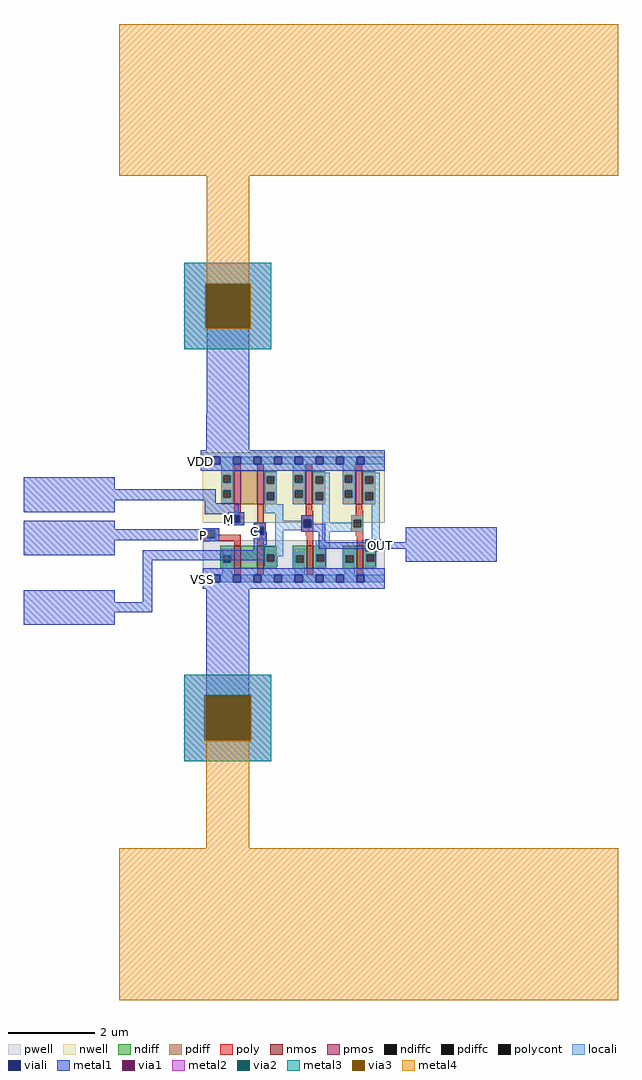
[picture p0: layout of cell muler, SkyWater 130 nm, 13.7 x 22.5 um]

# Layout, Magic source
magic
tech sky130A
magscale 1 2
<< nwell >>
rect 285 -700 1125 -375
<< pwell >>
rect 320 -785 1125 -780
rect 285 -975 1125 -785
<< nmos >>
rect 430 -910 460 -805
rect 535 -910 565 -805
rect 765 -910 795 -805
rect 995 -910 1025 -805
<< pmos >>
rect 430 -615 460 -460
rect 535 -615 565 -460
rect 760 -615 790 -460
rect 990 -615 1020 -460
<< ndiff >>
rect 365 -850 430 -805
rect 365 -885 380 -850
rect 415 -885 430 -850
rect 365 -910 430 -885
rect 460 -910 535 -805
rect 565 -845 625 -805
rect 565 -880 580 -845
rect 615 -880 625 -845
rect 565 -910 625 -880
rect 700 -850 765 -805
rect 700 -885 715 -850
rect 750 -885 765 -850
rect 700 -910 765 -885
rect 795 -845 855 -805
rect 795 -880 810 -845
rect 845 -880 855 -845
rect 795 -910 855 -880
rect 930 -850 995 -805
rect 930 -885 945 -850
rect 980 -885 995 -850
rect 930 -910 995 -885
rect 1025 -845 1085 -805
rect 1025 -880 1040 -845
rect 1075 -880 1085 -845
rect 1025 -910 1085 -880
<< pdiff >>
rect 370 -480 430 -460
rect 370 -515 380 -480
rect 415 -515 430 -480
rect 370 -550 430 -515
rect 370 -585 380 -550
rect 415 -585 430 -550
rect 370 -615 430 -585
rect 460 -615 535 -460
rect 565 -485 625 -460
rect 565 -520 580 -485
rect 615 -520 625 -485
rect 565 -560 625 -520
rect 565 -595 580 -560
rect 615 -595 625 -560
rect 565 -615 625 -595
rect 700 -480 760 -460
rect 700 -515 710 -480
rect 745 -515 760 -480
rect 700 -550 760 -515
rect 700 -585 710 -550
rect 745 -585 760 -550
rect 700 -615 760 -585
rect 790 -485 850 -460
rect 790 -520 805 -485
rect 840 -520 850 -485
rect 790 -560 850 -520
rect 790 -595 805 -560
rect 840 -595 850 -560
rect 790 -615 850 -595
rect 930 -480 990 -460
rect 930 -515 940 -480
rect 975 -515 990 -480
rect 930 -550 990 -515
rect 930 -585 940 -550
rect 975 -585 990 -550
rect 930 -615 990 -585
rect 1020 -485 1080 -460
rect 1020 -520 1035 -485
rect 1070 -520 1080 -485
rect 1020 -560 1080 -520
rect 1020 -595 1035 -560
rect 1070 -595 1080 -560
rect 1020 -615 1080 -595
<< ndiffc >>
rect 380 -885 415 -850
rect 580 -880 615 -845
rect 715 -885 750 -850
rect 810 -880 845 -845
rect 945 -885 980 -850
rect 1040 -880 1075 -845
<< pdiffc >>
rect 380 -515 415 -480
rect 380 -585 415 -550
rect 580 -520 615 -485
rect 580 -595 615 -560
rect 710 -515 745 -480
rect 710 -585 745 -550
rect 805 -520 840 -485
rect 805 -595 840 -560
rect 940 -515 975 -480
rect 940 -585 975 -550
rect 1035 -520 1070 -485
rect 1035 -595 1070 -560
<< poly >>
rect 430 -460 460 -430
rect 535 -460 565 -430
rect 760 -460 790 -430
rect 990 -460 1020 -430
rect 430 -650 460 -615
rect 400 -665 475 -650
rect 400 -700 420 -665
rect 455 -700 475 -665
rect 535 -700 565 -615
rect 760 -645 790 -615
rect 990 -645 1020 -615
rect 760 -665 795 -645
rect 990 -665 1025 -645
rect 740 -685 795 -665
rect 400 -710 475 -700
rect 520 -720 575 -700
rect 285 -735 360 -725
rect 285 -770 305 -735
rect 340 -755 360 -735
rect 520 -755 530 -720
rect 565 -755 575 -720
rect 740 -720 750 -685
rect 785 -720 795 -685
rect 740 -740 795 -720
rect 970 -685 1025 -665
rect 970 -720 980 -685
rect 1015 -720 1025 -685
rect 970 -740 1025 -720
rect 340 -770 460 -755
rect 285 -785 460 -770
rect 520 -775 575 -755
rect 760 -760 795 -740
rect 990 -760 1025 -740
rect 430 -805 460 -785
rect 535 -805 565 -775
rect 765 -805 795 -760
rect 995 -805 1025 -760
rect 430 -940 460 -910
rect 535 -940 565 -910
rect 765 -940 795 -910
rect 995 -940 1025 -910
<< polycont >>
rect 420 -700 455 -665
rect 305 -770 340 -735
rect 530 -755 565 -720
rect 750 -720 785 -685
rect 980 -720 1015 -685
<< locali >>
rect 285 -430 330 -395
rect 365 -430 425 -395
rect 460 -430 520 -395
rect 555 -430 615 -395
rect 650 -430 710 -395
rect 745 -430 805 -395
rect 840 -430 900 -395
rect 935 -430 995 -395
rect 1030 -430 1125 -395
rect 370 -480 425 -430
rect 370 -515 380 -480
rect 415 -515 425 -480
rect 370 -550 425 -515
rect 370 -585 380 -550
rect 415 -585 425 -550
rect 370 -610 425 -585
rect 570 -485 625 -465
rect 570 -520 580 -485
rect 615 -520 625 -485
rect 570 -560 625 -520
rect 570 -595 580 -560
rect 615 -595 625 -560
rect 570 -615 625 -595
rect 700 -480 755 -430
rect 700 -515 710 -480
rect 745 -515 755 -480
rect 700 -550 755 -515
rect 700 -585 710 -550
rect 745 -585 755 -550
rect 700 -615 755 -585
rect 795 -470 850 -465
rect 795 -485 870 -470
rect 795 -520 805 -485
rect 840 -520 870 -485
rect 795 -560 870 -520
rect 795 -595 805 -560
rect 840 -595 870 -560
rect 795 -615 870 -595
rect 930 -480 985 -430
rect 930 -515 940 -480
rect 975 -515 985 -480
rect 930 -550 985 -515
rect 930 -585 940 -550
rect 975 -585 985 -550
rect 930 -615 985 -585
rect 1025 -470 1080 -465
rect 1025 -485 1100 -470
rect 1025 -520 1035 -485
rect 1070 -520 1100 -485
rect 1025 -560 1100 -520
rect 1025 -595 1035 -560
rect 1070 -595 1100 -560
rect 1025 -615 1100 -595
rect 400 -665 475 -650
rect 570 -655 655 -615
rect 400 -700 415 -665
rect 455 -700 475 -665
rect 620 -690 655 -655
rect 740 -685 795 -665
rect 740 -690 750 -685
rect 400 -710 475 -700
rect 520 -720 575 -700
rect 285 -735 360 -725
rect 285 -770 305 -735
rect 340 -770 360 -735
rect 285 -785 360 -770
rect 520 -755 530 -720
rect 565 -755 575 -720
rect 520 -775 575 -755
rect 620 -720 750 -690
rect 785 -720 795 -685
rect 620 -735 795 -720
rect 620 -810 655 -735
rect 740 -740 795 -735
rect 835 -700 870 -615
rect 970 -685 1025 -665
rect 970 -700 980 -685
rect 835 -720 980 -700
rect 1015 -720 1025 -685
rect 835 -740 1025 -720
rect 835 -780 870 -740
rect 1065 -775 1100 -615
rect 375 -850 420 -820
rect 375 -885 380 -850
rect 415 -885 420 -850
rect 375 -940 420 -885
rect 570 -845 655 -810
rect 805 -820 870 -780
rect 1035 -785 1110 -775
rect 1035 -820 1055 -785
rect 1090 -820 1110 -785
rect 570 -880 580 -845
rect 615 -855 655 -845
rect 710 -850 755 -820
rect 615 -880 630 -855
rect 570 -900 630 -880
rect 710 -885 715 -850
rect 750 -885 755 -850
rect 710 -940 755 -885
rect 805 -845 850 -820
rect 805 -880 810 -845
rect 845 -880 850 -845
rect 805 -900 850 -880
rect 940 -850 985 -820
rect 940 -885 945 -850
rect 980 -885 985 -850
rect 940 -940 985 -885
rect 1035 -830 1110 -820
rect 1035 -845 1080 -830
rect 1035 -880 1040 -845
rect 1075 -880 1080 -845
rect 1035 -900 1080 -880
rect 285 -975 330 -940
rect 365 -975 425 -940
rect 460 -975 520 -940
rect 555 -975 615 -940
rect 650 -975 710 -940
rect 745 -975 805 -940
rect 840 -975 900 -940
rect 935 -975 995 -940
rect 1030 -975 1125 -940
<< viali >>
rect 330 -430 365 -395
rect 425 -430 460 -395
rect 520 -430 555 -395
rect 615 -430 650 -395
rect 710 -430 745 -395
rect 805 -430 840 -395
rect 900 -430 935 -395
rect 995 -430 1030 -395
rect 415 -700 420 -665
rect 420 -700 455 -665
rect 530 -755 565 -720
rect 750 -720 785 -685
rect 1055 -820 1090 -785
rect 330 -975 365 -940
rect 425 -975 460 -940
rect 520 -975 555 -940
rect 615 -975 650 -940
rect 710 -975 745 -940
rect 805 -975 840 -940
rect 900 -975 935 -940
rect 995 -975 1030 -940
<< metal1 >>
rect 304 397 499 403
rect 304 -200 499 202
rect 300 -365 500 -200
rect 275 -395 1125 -365
rect 275 -430 330 -395
rect 365 -430 425 -395
rect 460 -430 520 -395
rect 555 -430 615 -395
rect 650 -430 710 -395
rect 745 -430 805 -395
rect 840 -430 900 -395
rect 935 -430 995 -395
rect 1030 -430 1125 -395
rect 275 -460 1125 -430
rect -540 -545 -120 -490
rect -540 -595 345 -545
rect -540 -650 -120 -595
rect 295 -610 345 -595
rect 295 -650 450 -610
rect 295 -660 475 -650
rect 400 -665 475 -660
rect -540 -730 -120 -690
rect 400 -700 415 -665
rect 455 -700 475 -665
rect 740 -685 795 -665
rect 400 -710 475 -700
rect 520 -720 575 -700
rect 285 -730 360 -725
rect -540 -780 360 -730
rect -540 -850 -120 -780
rect 285 -785 360 -780
rect 520 -755 530 -720
rect 565 -740 575 -720
rect 740 -720 750 -685
rect 785 -705 795 -685
rect 785 -720 850 -705
rect 740 -740 850 -720
rect 565 -755 580 -740
rect 520 -800 580 -755
rect 820 -790 850 -740
rect 1035 -785 1110 -775
rect 1035 -790 1055 -785
rect 520 -827 565 -800
rect 820 -820 1055 -790
rect 1090 -790 1110 -785
rect 1220 -790 1640 -720
rect 1090 -820 1640 -790
rect 8 -872 565 -827
rect 1035 -830 1110 -820
rect -540 -1067 -120 -1010
rect 8 -1067 53 -872
rect 1220 -880 1640 -820
rect 285 -940 1125 -910
rect 285 -975 330 -940
rect 365 -975 425 -940
rect 460 -975 520 -940
rect 555 -975 615 -940
rect 650 -975 710 -940
rect 745 -975 805 -940
rect 840 -975 900 -940
rect 935 -975 995 -940
rect 1030 -975 1125 -940
rect 285 -1005 1125 -975
rect -540 -1112 53 -1067
rect -540 -1170 -120 -1112
rect 300 -1500 500 -1005
rect 300 -1706 500 -1700
<< via1 >>
rect 304 202 499 397
rect 300 -1700 500 -1500
<< metal2 >>
rect 200 397 600 500
rect 200 202 304 397
rect 499 202 600 397
rect 200 100 600 202
rect 200 -1500 600 -1400
rect 200 -1700 300 -1500
rect 500 -1700 600 -1500
rect 200 -1800 600 -1700
<< via2 >>
rect 304 202 499 397
rect 300 -1700 500 -1500
<< metal3 >>
rect 200 402 600 500
rect 200 197 299 402
rect 504 197 600 402
rect 200 100 600 197
rect 200 -1495 600 -1400
rect 200 -1705 295 -1495
rect 505 -1705 600 -1495
rect 200 -1800 600 -1705
<< via3 >>
rect 299 397 504 402
rect 299 202 304 397
rect 304 202 499 397
rect 499 202 504 397
rect 299 197 504 202
rect 295 -1500 505 -1495
rect 295 -1700 300 -1500
rect 300 -1700 500 -1500
rect 500 -1700 505 -1500
rect 295 -1705 505 -1700
<< metal4 >>
rect -100 900 2200 1600
rect 304 403 499 900
rect 298 402 505 403
rect 298 197 299 402
rect 504 197 505 402
rect 298 196 505 197
rect 294 -1495 506 -1494
rect 294 -1705 295 -1495
rect 505 -1705 506 -1495
rect 294 -1706 506 -1705
rect 300 -2200 500 -1706
rect -100 -2900 2200 -2200
<< labels >>
flabel metal1 285 -960 285 -960 0 FreeSans 80 0 0 0 VSS
port 0 nsew ground input
flabel metal1 275 -415 275 -415 0 FreeSans 80 0 0 0 VDD
port 1 nsew power input
flabel metal1 405 -685 405 -685 0 FreeSans 80 0 0 0 M
port 2 nsew signal input
flabel metal1 290 -760 290 -760 0 FreeSans 80 0 0 0 P
port 3 nsew signal input
flabel metal1 525 -740 525 -740 0 FreeSans 80 0 0 0 C
port 4 nsew signal input
flabel metal1 1105 -805 1105 -805 0 FreeSans 80 0 0 0 OUT
port 5 nsew signal output
<< end >>
